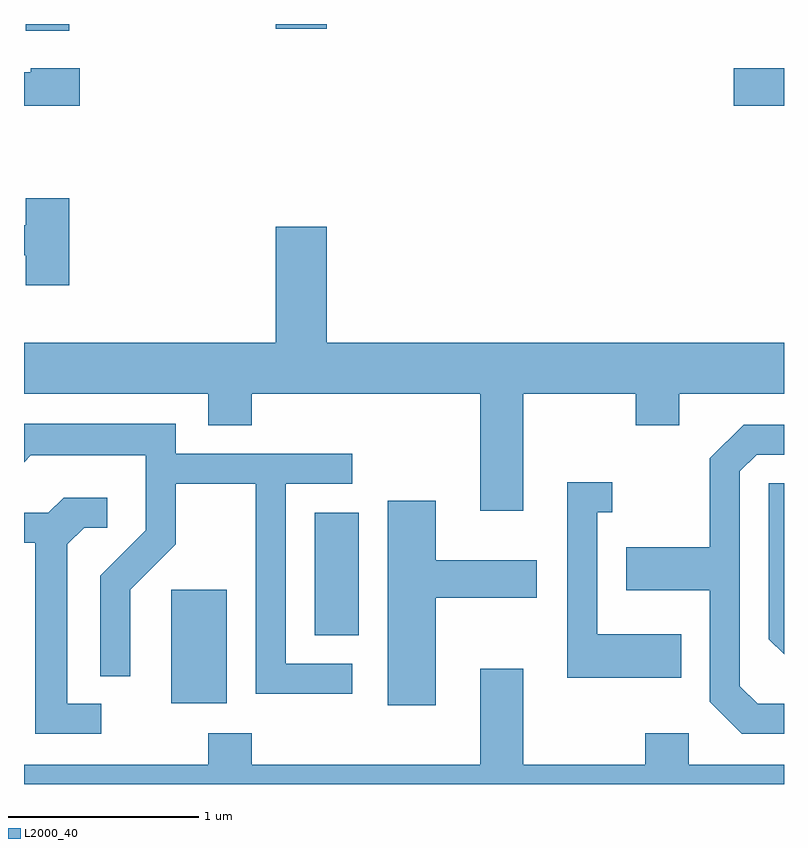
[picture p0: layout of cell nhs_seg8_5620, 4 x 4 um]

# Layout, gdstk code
import gdstk
lib = gdstk.Library(unit=1e-6, precision=1e-09)
def R(c, l, rs):  # rectangles x0, y0, x1, y1
    for r in rs: c.add(gdstk.rectangle(r[:2], r[2:], *l))
def P(c, l, *ps):  # polygons
    for p in ps: c.add(gdstk.Polygon(p, *l))
L2000_40 = (2000, 40)

nhs_seg8_5620 = lib.new_cell('nhs_seg8_5620')
R(nhs_seg8_5620, L2000_40, [(354.386,1854.766,354.679,1855.364), (355.141,1855.126,355.374,1855.769), (357.346,1857.911,357.611,1858.109), (353.621,1858.306,353.849,1858.342), (354.936,1858.316,355.204,1858.342)])
P(nhs_seg8_5620, L2000_40, [(353.904,1858.109),(353.646,1858.109),(353.646,1858.089),(353.611,1858.089),(353.611,1857.911),(353.904,1857.911)],
  [(353.849,1857.424),(353.621,1857.424),(353.621,1857.284),(353.611,1857.284),(353.611,1857.126),(353.621,1857.126),(353.621,1856.966),(353.849,1856.966)],
  [(356.239,1856.396),(356.831,1856.396),(356.831,1856.231),(357.059,1856.231),(357.059,1856.396),(357.611,1856.396),(357.611,1856.664),(355.204,1856.664),(355.204,1857.274),(354.936,1857.274),(354.936,1856.664),(353.611,1856.664),(353.611,1856.396),(354.581,1856.396),(354.581,1856.231),(354.809,1856.231),(354.809,1856.396),(356.011,1856.396),(356.011,1855.781),(356.239,1855.781)],
  [(355.338,1854.974),(354.989,1854.974),(354.989,1855.921),(355.338,1855.921),(355.338,1856.079),(354.409,1856.079),(354.409,1856.239),(353.611,1856.239),(353.611,1856.035),(353.647,1856.071),(354.251,1856.071),(354.251,1855.677),(354.011,1855.437),(354.011,1854.908),(354.169,1854.908),(354.169,1855.364),(354.409,1855.604),(354.409,1855.921),(354.831,1855.921),(354.831,1854.816),(355.338,1854.816)],
  [(357.611,1854.764),(357.472,1854.764),(357.379,1854.857),(357.379,1855.989),(357.467,1856.076),(357.611,1856.076),(357.611,1856.234),(357.399,1856.234),(357.221,1856.057),(357.221,1855.589),(356.781,1855.589),(356.781,1855.361),(357.221,1855.361),(357.221,1854.774),(357.389,1854.606),(357.611,1854.606)],
  [(357.069,1855.129),(356.629,1855.129),(356.629,1855.771),(356.708,1855.771),(356.708,1855.929),(356.471,1855.929),(356.471,1854.901),(357.069,1854.901)],
  [(357.611,1855.924),(357.531,1855.924),(357.531,1855.104),(357.611,1855.024)],
  [(354.018,1854.764),(353.839,1854.764),(353.839,1855.604),(353.927,1855.691),(354.048,1855.691),(354.048,1855.849),(353.819,1855.849),(353.739,1855.769),(353.611,1855.769),(353.611,1855.611),(353.671,1855.611),(353.671,1854.606),(354.018,1854.606)],
  [(355.779,1855.321),(356.309,1855.321),(356.309,1855.519),(355.779,1855.519),(355.779,1855.834),(355.526,1855.834),(355.526,1854.756),(355.779,1854.756)],
  [(357.611,1854.444),(357.109,1854.444),(357.109,1854.609),(356.881,1854.609),(356.881,1854.444),(356.239,1854.444),(356.239,1854.949),(356.011,1854.949),(356.011,1854.444),(354.809,1854.444),(354.809,1854.609),(354.581,1854.609),(354.581,1854.444),(353.611,1854.444),(353.611,1854.342),(357.611,1854.342)])

lib.write_gds('nhs_seg8_5620.gds')
